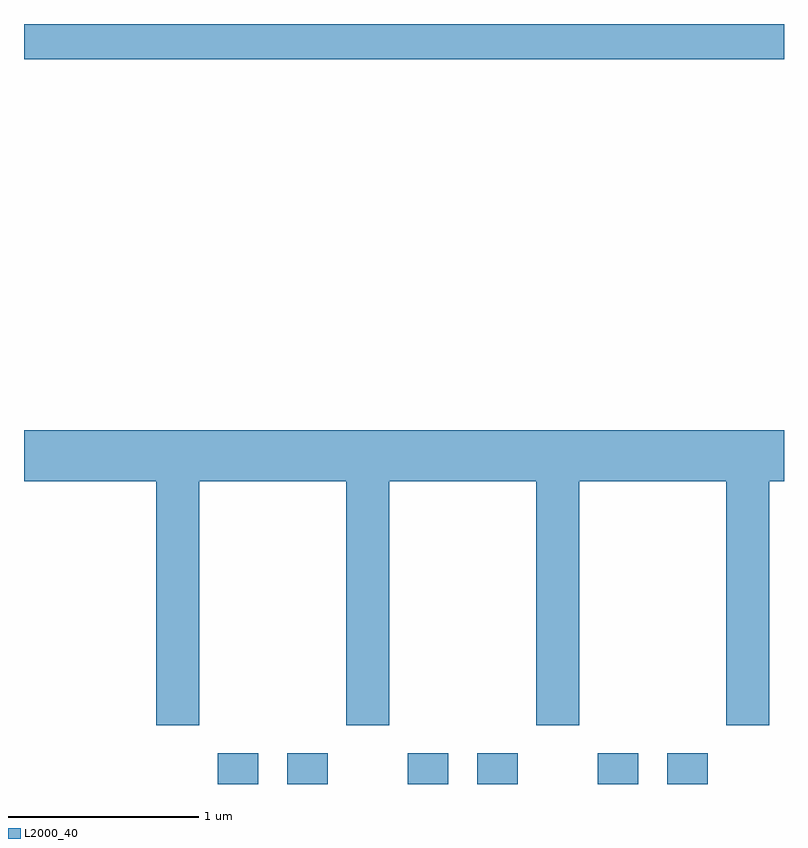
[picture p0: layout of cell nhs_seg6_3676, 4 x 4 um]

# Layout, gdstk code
import gdstk
lib = gdstk.Library(unit=1e-6, precision=1e-09)
def R(c, l, rs):  # rectangles x0, y0, x1, y1
    for r in rs: c.add(gdstk.rectangle(r[:2], r[2:], *l))
def P(c, l, *ps):  # polygons
    for p in ps: c.add(gdstk.Polygon(p, *l))
L2000_40 = (2000, 40)

nhs_seg6_3676 = lib.new_cell('nhs_seg6_3676')
R(nhs_seg6_3676, L2000_40, [(296.631,1606.162,296.844,1606.324), (296.996,1606.162,297.209,1606.324), (297.631,1606.162,297.844,1606.324), (297.996,1606.162,298.209,1606.324), (298.631,1606.162,298.844,1606.324), (298.996,1606.162,299.209,1606.324), (295.611,1609.976,299.611,1610.162)])
P(nhs_seg6_3676, L2000_40, [(296.534,1607.756),(297.306,1607.756),(297.306,1606.471),(297.534,1606.471),(297.534,1607.756),(298.306,1607.756),(298.306,1606.471),(298.534,1606.471),(298.534,1607.756),(299.306,1607.756),(299.306,1606.471),(299.534,1606.471),(299.534,1607.756),(299.611,1607.756),(299.611,1608.024),(295.611,1608.024),(295.611,1607.756),(296.306,1607.756),(296.306,1606.471),(296.534,1606.471)])

lib.write_gds('nhs_seg6_3676.gds')
